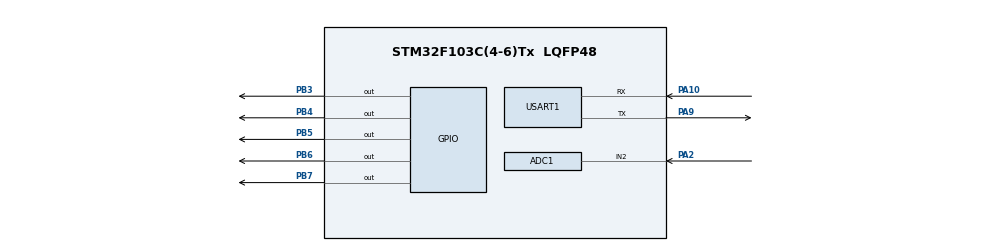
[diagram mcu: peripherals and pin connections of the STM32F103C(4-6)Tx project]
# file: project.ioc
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ADC1.Channel-0\#ChannelRegularConversion=ADC_CHANNEL_2
ADC1.NbrOfConversionFlag=1
ADC1.Rank-0\#ChannelRegularConversion=1
ADC1.SamplingTime-0\#ChannelRegularConversion=ADC_SAMPLETIME_1CYCLE_5
ADC1.master=1
Mcu.Family=STM32F1
Mcu.Name=STM32F103C(4-6)Tx
Mcu.Package=LQFP48
NVIC.PriorityGroup=NVIC_PRIORITYGROUP_4
NVIC.USART1_IRQn=true\:0\:0\:false\:false\:true\:true\:true\:true
PA10.Mode=Asynchronous
PA10.Signal=USART1_RX
PA2.Signal=ADCx_IN2
PA9.Mode=Asynchronous
PA9.Signal=USART1_TX
PB3.Signal=GPIO_Output
PB4.Signal=GPIO_Output
PB5.Signal=GPIO_Output
PB6.Signal=GPIO_Output
PB7.Signal=GPIO_Output
ProjectManager.HeapSize=0x200
ProjectManager.StackSize=0x400
ProjectManager.TargetToolchain=STM32CubeIDE
RCC.APB1Freq_Value=8000000
RCC.APB2Freq_Value=8000000
SH.ADCx_IN2.0=ADC1_IN2,IN2
USART1.VirtualMode=VM_ASYNC
VP_SYS_VS_ND.Mode=No_Debug
board=custom

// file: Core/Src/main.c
/* USER CODE BEGIN Header */
/**
  ******************************************************************************
  * @file           : main.c
  * @brief          : Main program body
  ******************************************************************************
  * @attention
  *
  * Copyright (c) 2024 STMicroelectronics.
  * All rights reserved.
  *
  * This software is licensed under terms that can be found in the LICENSE file
  * in the root directory of this software component.
  * If no LICENSE file comes with this software, it is provided AS-IS.
  *
  ******************************************************************************
  */
/* USER CODE END Header */
#include "main.h"

/* USER CODE BEGIN Includes */
#include <stdio.h>
#include <math.h>
#include <string.h>

/* USER CODE END Includes */

/* USER CODE BEGIN PD */

#define NUMSAMPLES 5 				 // Number of ADC samples to average for better measurement accuracy
#define SERIESRESISTOR 10000 		 // Value of the series resistor in ohms
#define THERMISTORNOMINAL 10000  	 // Nominal resistance of the thermistor at 25°C in ohms
#define TEMPERATURENOMINAL 25  	     // Nominal temperature for the thermistor resistance in degrees Celsius
#define BCOEFFICIENT 3950 			 // Beta coefficient of the thermistor, typically between 3000 and 4000

/* USER CODE END PD */

ADC_HandleTypeDef hadc1;

UART_HandleTypeDef huart1;

/* USER CODE BEGIN PV */

char buffer[50]; 				 // Buffer for UART transmission
float samples[NUMSAMPLES]; 		 // Array to store ADC sample values
float average = 0;  			 // Variable to store the average of ADC samples
float steinhart;  				 // Variable to store the calculated temperature in Celsius
uint8_t i;  					 // Loop counter for sampling
/* USER CODE END PV */

void SystemClock_Config(void);
static void MX_GPIO_Init(void);
static void MX_ADC1_Init(void);
static void MX_USART1_UART_Init(void);

int main(void)
{

  /* MCU Configuration--------------------------------------------------------*/

  /* Reset of all peripherals, Initializes the Flash interface and the Systick. */
  HAL_Init();

  /* Configure the system clock */
  SystemClock_Config();

  /* Initialize all configured peripherals */
  MX_GPIO_Init();
  MX_ADC1_Init();
  MX_USART1_UART_Init();

  /* Infinite loop */
  while (1)
  {

    /* USER CODE BEGIN 3 */
	  average = 0;  // Clear previous average value to ensure correct calculation for the new set of samples

	  // Collect multiple ADC samples and store them in the array
	  for (i = 0; i < NUMSAMPLES; i++) {
		  HAL_ADC_Start(&hadc1);  // Start the ADC conversion
		  HAL_ADC_PollForConversion(&hadc1, HAL_MAX_DELAY);  // Wait for the conversion to complete
		  samples[i] = HAL_ADC_GetValue(&hadc1);  // Read the ADC conversion result
		  HAL_Delay(10);  // Delay between samples to stabilize the ADC readings
	  }

	  // Compute the average of the collected ADC samples
	  for (i = 0; i < NUMSAMPLES; i++) {
		  average += samples[i];  // Sum up all the ADC sample values
	  }
	  average /= NUMSAMPLES;  // Calculate the average of the ADC samples
	  sprintf(buffer, "Average analog reading %.2f \r\n", average);  // Format the average reading for UART output
	  HAL_UART_Transmit(&huart1, (uint8_t*)buffer, strlen(buffer), HAL_MAX_DELAY);  // Transmit the average reading via UART

	  // Convert the average ADC reading to thermistor resistance and calculate temperature
	  if (average > 0) {  // Ensure the average is not zero to avoid division errors
		  average = 4094 / average - 1;  // Convert ADC reading to resistance using 12-bit ADC resolution
		  average = SERIESRESISTOR / average;  // Calculate the thermistor resistance

		  sprintf(buffer, "Thermistor resistance %.2f \r\n", average);  // Format the resistance value for UART output
		  HAL_UART_Transmit(&huart1, (uint8_t*)buffer, strlen(buffer), HAL_MAX_DELAY);  // Transmit the resistance value via UART

		  // Apply the Steinhart-Hart equation to convert resistance to temperature
		  steinhart = average / THERMISTORNOMINAL;  // Compute the ratio of thermistor resistance to nominal resistance
		  steinhart = log(steinhart);  // Compute the natural logarithm of the resistance ratio
		  steinhart /= BCOEFFICIENT;  // Divide by the thermistor's Beta coefficient
		  steinhart += 1.0 / (TEMPERATURENOMINAL + 273.15);  // Add the reciprocal of the nominal temperature in Kelvin
		  steinhart = 1.0 / steinhart;  // Compute the reciprocal to get the temperature in Kelvin
		  steinhart -= 273.15;  // Convert the temperature from Kelvin to Celsius

		  sprintf(buffer, "Temperature: %.2f *C\r\n", steinhart);  // Format the temperature value for UART output
		  HAL_UART_Transmit(&huart1, (uint8_t*)buffer, strlen(buffer), HAL_MAX_DELAY);  // Transmit the temperature value via UART
	  } else {
		  sprintf(buffer, "Error: Invalid ADC reading\r\n");  // Handle invalid ADC reading (e.g., division by zero)
		  HAL_UART_Transmit(&huart1, (uint8_t*)buffer, strlen(buffer), HAL_MAX_DELAY);  // Transmit the error message via UART
	  }

	  HAL_Delay(1000);  // Wait for 1 second before repeating the loop

  }
  /* USER CODE END 3 */
}

void SystemClock_Config(void)
{
  RCC_OscInitTypeDef RCC_OscInitStruct = {0};
  RCC_ClkInitTypeDef RCC_ClkInitStruct = {0};
  RCC_PeriphCLKInitTypeDef PeriphClkInit = {0};

  /** Initializes the RCC Oscillators according to the specified parameters
  * in the RCC_OscInitTypeDef structure.
  */
  RCC_OscInitStruct.OscillatorType = RCC_OSCILLATORTYPE_HSI;
  RCC_OscInitStruct.HSIState = RCC_HSI_ON;
  RCC_OscInitStruct.HSICalibrationValue = RCC_HSICALIBRATION_DEFAULT;
  RCC_OscInitStruct.PLL.PLLState = RCC_PLL_NONE;
  if (HAL_RCC_OscConfig(&RCC_OscInitStruct) != HAL_OK)
  {
    Error_Handler();
  }

  /** Initializes the CPU, AHB and APB buses clocks
  */
  RCC_ClkInitStruct.ClockType = RCC_CLOCKTYPE_HCLK|RCC_CLOCKTYPE_SYSCLK
                              |RCC_CLOCKTYPE_PCLK1|RCC_CLOCKTYPE_PCLK2;
  RCC_ClkInitStruct.SYSCLKSource = RCC_SYSCLKSOURCE_HSI;
  RCC_ClkInitStruct.AHBCLKDivider = RCC_SYSCLK_DIV1;
  RCC_ClkInitStruct.APB1CLKDivider = RCC_HCLK_DIV1;
  RCC_ClkInitStruct.APB2CLKDivider = RCC_HCLK_DIV1;

  if (HAL_RCC_ClockConfig(&RCC_ClkInitStruct, FLASH_LATENCY_0) != HAL_OK)
  {
    Error_Handler();
  }
  PeriphClkInit.PeriphClockSelection = RCC_PERIPHCLK_ADC;
  PeriphClkInit.AdcClockSelection = RCC_ADCPCLK2_DIV2;
  if (HAL_RCCEx_PeriphCLKConfig(&PeriphClkInit) != HAL_OK)
  {
    Error_Handler();
  }
}

static void MX_ADC1_Init(void)
{

  ADC_ChannelConfTypeDef sConfig = {0};

  /** Common config
  */
  hadc1.Instance = ADC1;
  hadc1.Init.ScanConvMode = ADC_SCAN_DISABLE;
  hadc1.Init.ContinuousConvMode = DISABLE;
  hadc1.Init.DiscontinuousConvMode = DISABLE;
  hadc1.Init.ExternalTrigConv = ADC_SOFTWARE_START;
  hadc1.Init.DataAlign = ADC_DATAALIGN_RIGHT;
  hadc1.Init.NbrOfConversion = 1;
  if (HAL_ADC_Init(&hadc1) != HAL_OK)
  {
    Error_Handler();
  }

  /** Configure Regular Channel
  */
  sConfig.Channel = ADC_CHANNEL_2;
  sConfig.Rank = ADC_REGULAR_RANK_1;
  sConfig.SamplingTime = ADC_SAMPLETIME_1CYCLE_5;
  if (HAL_ADC_ConfigChannel(&hadc1, &sConfig) != HAL_OK)
  {
    Error_Handler();
  }

}

static void MX_USART1_UART_Init(void)
{

  huart1.Instance = USART1;
  huart1.Init.BaudRate = 115200;
  huart1.Init.WordLength = UART_WORDLENGTH_8B;
  huart1.Init.StopBits = UART_STOPBITS_1;
  huart1.Init.Parity = UART_PARITY_NONE;
  huart1.Init.Mode = UART_MODE_TX_RX;
  huart1.Init.HwFlowCtl = UART_HWCONTROL_NONE;
  huart1.Init.OverSampling = UART_OVERSAMPLING_16;
  if (HAL_UART_Init(&huart1) != HAL_OK)
  {
    Error_Handler();
  }

}

static void MX_GPIO_Init(void)
{
  GPIO_InitTypeDef GPIO_InitStruct = {0};

  /* GPIO Ports Clock Enable */
  __HAL_RCC_GPIOA_CLK_ENABLE();
  __HAL_RCC_GPIOB_CLK_ENABLE();

  /*Configure GPIO pin Output Level */
  HAL_GPIO_WritePin(GPIOB, GPIO_PIN_3|GPIO_PIN_4|GPIO_PIN_5|GPIO_PIN_6
                          |GPIO_PIN_7, GPIO_PIN_RESET);

  /*Configure GPIO pins : PB3 PB4 PB5 PB6
                           PB7 */
  GPIO_InitStruct.Pin = GPIO_PIN_3|GPIO_PIN_4|GPIO_PIN_5|GPIO_PIN_6
                          |GPIO_PIN_7;
  GPIO_InitStruct.Mode = GPIO_MODE_OUTPUT_PP;
  GPIO_InitStruct.Pull = GPIO_NOPULL;
  GPIO_InitStruct.Speed = GPIO_SPEED_FREQ_LOW;
  HAL_GPIO_Init(GPIOB, &GPIO_InitStruct);

}

void Error_Handler(void)
{
  __disable_irq();
  while (1)
  {
  }
}
